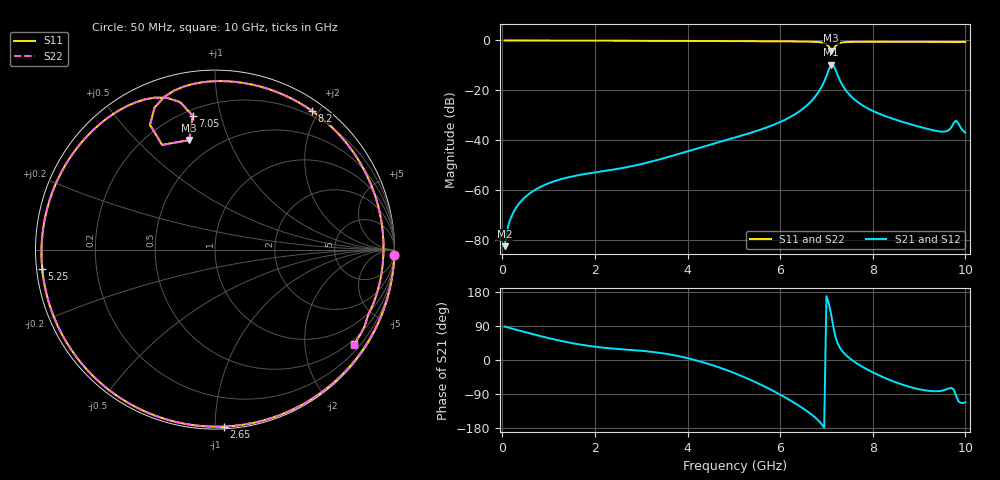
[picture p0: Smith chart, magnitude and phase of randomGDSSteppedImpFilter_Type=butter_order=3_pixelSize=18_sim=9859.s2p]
! freq	dB(S11)	phase(S11)	dB(S12)	phase(S12)
!  dB(S21)	phase(S21)	dB(S22)	phase(S22)
!S-par simulation data
#  GHz  S  DB  R 50
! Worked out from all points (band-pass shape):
!   200 points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, 50 MHz to 10 GHz, reference 50 ohm
!   highest |S21| = -9.79 dB at 7.1 GHz (marker M1); lowest = -82.7 dB at 50 MHz (marker M2)
!   |S21| within 3 dB of the highest: 7.029 GHz to 7.217 GHz (187.1 MHz wide, 2.63 % of centre)
!   lowest |S11| = -4.1 dB at 7.1 GHz (marker M3), VSWR 4.36, Z = 18 + j36.3 ohm
!   |S11| at or under -10 dB: nowhere
!   |S22| runs from -4.1 to 0.0 dB; largest |S21 - S12| = 0
!   S11 on the Smith chart (normalised r, x): 50 MHz: 0, -67; 2.65 GHz: 0.01, -1.05; 5.25 GHz: 0.02, -0.05; 7.05 GHz: 0.24, +0.82; 8.2 GHz: 0.14, +1.91; 10 GHz: 0.37, -3.20
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0.05  -0.00 -1.7  -82.65 88.2  -82.65 88.2  -0.00 -1.7
0.25  -0.01 -8.4  -68.71 81.6  -68.71 81.6  -0.01 -8.4
0.55  -0.02 -18.5  -62.05 71.7  -62.05 71.7  -0.02 -18.5
1.75  -0.07 -58.1  -53.77 39.4  -53.77 39.4  -0.07 -58.1
2.65  -0.11 -87.1  -51.05 27.7  -51.05 27.7  -0.11 -87.1
3.4  -0.15 -111.1  -47.77 18.8  -47.77 18.8  -0.15 -111.1
5.05  -0.26 -166.4  -38.90 -36.4  -38.90 -36.4  -0.26 -166.5
5.25  -0.28 -173.7  -37.78 -46.5  -37.78 -46.5  -0.28 -173.8
6  -0.36 156.8  -32.76 -91.4  -32.76 -91.4  -0.36 156.8
6.7  -0.52 124.1  -23.82 -145.9  -23.82 -145.9  -0.52 124.0
6.95  -1.03 107.7  -16.51 -179.0  -16.51 -179.0  -1.03 107.6
7.05  -2.43 99.5  -11.76 150.0  -11.76 150.0  -2.44 99.4
7.1  -4.06 103.3  -9.79 120.9  -9.79 120.9  -4.07 103.2
7.2  -2.11 117.5  -12.02 59.1  -12.02 59.1  -2.11 117.5
7.25  -1.31 113.1  -14.35 42.1  -14.35 42.1  -1.32 113.0
7.6  -0.54 88.4  -23.66 -4.5  -23.66 -4.5  -0.54 88.3
8.2  -0.51 55.1  -29.91 -44.1  -29.91 -44.1  -0.51 55.0
8.35  -0.51 47.0  -30.94 -51.9  -30.94 -51.9  -0.51 46.9
9.15  -0.54 5.3  -35.39 -80.5  -35.39 -80.5  -0.54 5.1
9.6  -0.60 -16.5  -36.43 -77.1  -36.43 -77.1  -0.60 -16.6
9.8  -0.62 -25.0  -32.21 -94.5  -32.21 -94.5  -0.62 -25.1
10  -0.57 -34.3  -37.10 -111.9  -37.10 -111.9  -0.57 -34.4
